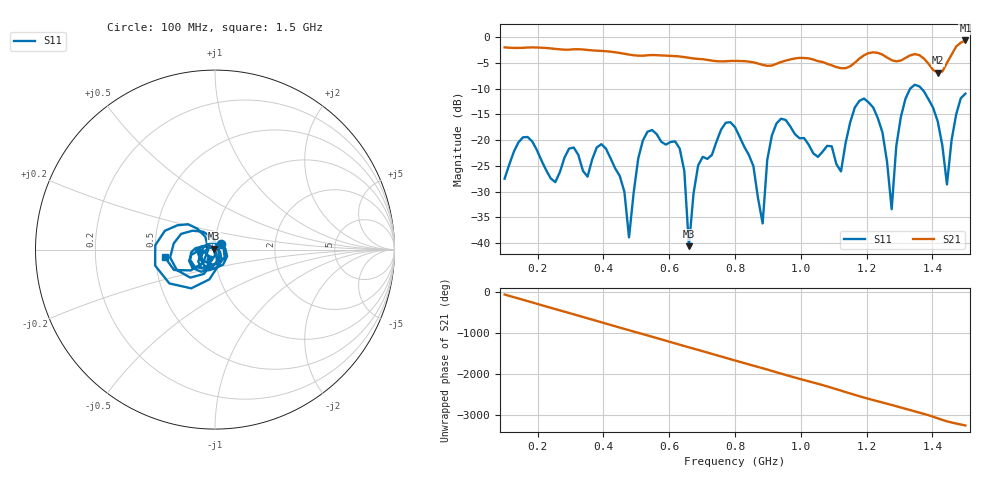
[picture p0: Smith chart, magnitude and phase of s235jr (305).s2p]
! NanoVNA-App
! Date: 2025-09-25 15:06:32
! Start: 100MHz Stop: 1,5GHz Points: 101
! S-Parameter data: F S11 S21 S12 S22
# Hz S RI R 50
!  Frequency  S11_Real  S11_Imag  S21_Real  S21_Imag  S12_Real  S12_Imag  S22_Real  S22_Imag
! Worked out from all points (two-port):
!   101 points, 100 MHz to 1.5 GHz, reference 50 ohm
!   highest |S21| = -0.63 dB at 1.5 GHz (marker M1); lowest = -6.9 dB at 1.416 GHz (marker M2)
!   |S21| within 3 dB of the highest: start of sweep to 604.9 MHz; 1.189 GHz to 1.254 GHz (64.72 MHz wide, 5.3 % of centre) (the widest 2 of 4)
!   lowest |S11| = -40.6 dB at 660 MHz (marker M3), VSWR 1.02, Z = 49.3 + j0.576 ohm
!   |S11| at or under -10 dB: start of sweep to 1.332 GHz; 1.367 GHz to end of sweep
!   S12 and S22 are empty: the file has one direction only
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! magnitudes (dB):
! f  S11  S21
! 100 MHz  -27.5  -2.0
! 156 MHz  -19.4  -2.1
! 338 MHz  -26.0  -2.4
! 408 MHz  -21.6  -2.7
! 478 MHz  -38.9  -3.4
! 520 MHz  -20.1  -3.6
! 576 MHz  -20.3  -3.5
! 632 MHz  -21.6  -3.7
! 660 MHz  -40.6  -4.0
! 688 MHz  -24.9  -4.2
! 800 MHz  -17.5  -4.6
! 884 MHz  -36.2  -5.4
! 926 MHz  -16.7  -5.2
! 1.038 GHz  -22.6  -4.3
! 1.122 GHz  -26.1  -6.0
! 1.192 GHz  -11.9  -3.5
! 1.248 GHz  -18.5  -3.4
! 1.276 GHz  -33.4  -4.5
! 1.332 GHz  -10.0  -3.5
! 1.416 GHz  -16.3  -6.9
! 1.444 GHz  -28.6  -5.0
! 1.5 GHz  -11.0  -0.6
